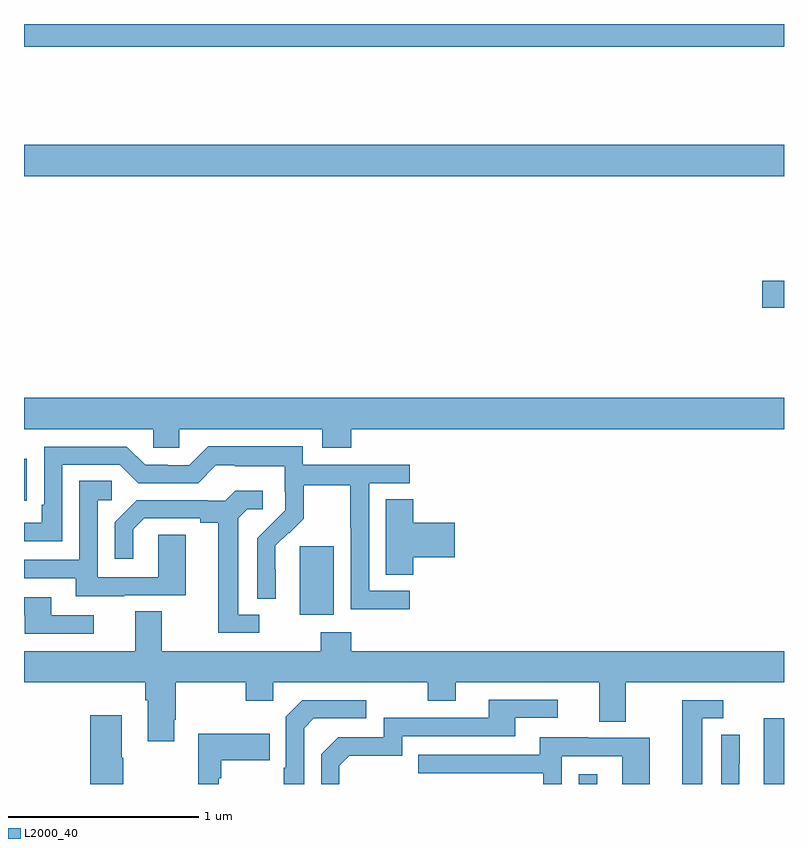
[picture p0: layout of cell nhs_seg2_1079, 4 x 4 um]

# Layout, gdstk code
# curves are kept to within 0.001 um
import gdstk
lib = gdstk.Library(unit=1e-6, precision=1e-09)
def R(c, l, rs):  # rectangles x0, y0, x1, y1
    for r in rs: c.add(gdstk.rectangle(r[:2], r[2:], *l))
def P(c, l, *ps):  # polygons
    for p in ps: c.add(gdstk.Polygon(p, *l))
L2000_40 = (2000, 40)

nhs_seg2_1079 = lib.new_cell('nhs_seg2_1079')
R(nhs_seg2_1079, L2000_40, [(169.92,613.8,170.017,613.852), (170.894,613.8,171,614.146), (168.452,614.69,168.631,615.051), (167,615.292,167.015,615.511), (170.886,616.306,171,616.448), (167,617,171,617.164), (167,617.68,171,617.8)])
P(nhs_seg2_1079, L2000_40, [(168.722,615.668),(171,615.668),(171,615.832),(167,615.832),(167,615.668),(167.679,615.668),(167.679,615.57),(167.817,615.57),(167.817,615.668),(168.569,615.668),(168.569,615.569),(168.722,615.569)],
  [(169.03,614.817),(168.816,614.817),(168.816,615.384),(169.03,615.384),(169.03,615.48),(168.468,615.48),(168.468,615.577),(167.971,615.577),(167.871,615.477),(167.756,615.477),(167.756,615.48),(167.637,615.48),(167.541,615.576),(167.106,615.576),(167.106,615.271),(167.093,615.271),(167.093,615.174),(167,615.174),(167,615.078),(167.202,615.078),(167.202,615.48),(167.505,615.48),(167.601,615.384),(167.916,615.384),(168.009,615.477),(168.109,615.477),(168.109,615.473),(168.372,615.473),(168.372,615.339),(168.374,615.339),(168.374,615.242),(168.228,615.094),(168.228,614.776),(168.324,614.776),(168.323,615.053),(168.393,615.123),(168.396,615.12),(168.473,615.197),(168.473,615.372),(168.718,615.372),(168.718,615.148),(168.72,615.148),(168.72,614.719),(169.03,614.719)],
  [(167.527,614.793),(167.851,614.793),(167.851,615.113),(167.706,615.113),(167.706,614.889),(167.388,614.889),(167.388,615.294),(167.461,615.294),(167.461,615.395),(167.292,615.395),(167.292,614.979),(167,614.979),(167,614.883),(167.273,614.883),(167.273,614.789),(167.527,614.789)],
  [(168.238,614.691),(168.127,614.691),(168.127,615.199),(168.174,615.246),(168.256,615.246),(168.256,615.343),(168.112,615.343),(168.06,615.291),(167.966,615.291),(167.966,615.294),(167.594,615.294),(167.478,615.178),(167.478,614.985),(167.575,614.985),(167.575,615.141),(167.632,615.198),(167.927,615.198),(167.927,615.176),(168.023,615.176),(168.023,614.595),(168.238,614.595)],
  [(169.049,614.993),(169.267,614.993),(169.267,615.176),(169.049,615.176),(169.049,615.299),(168.905,615.299),(168.905,614.902),(169.049,614.902)],
  [(167.368,614.688),(167.143,614.688),(167.143,614.784),(167,614.784),(167,614.688),(167.003,614.688),(167.003,614.592),(167.368,614.592)],
  [(167.791,614.137),(167.799,614.137),(167.799,614.336),(168.166,614.336),(168.166,614.237),(168.312,614.237),(168.312,614.336),(169.126,614.336),(169.126,614.237),(169.273,614.237),(169.273,614.336),(170.027,614.336),(170.027,614.128),(170.167,614.128),(170.167,614.336),(171,614.336),(171,614.5),(168.722,614.5),(168.722,614.599),(168.562,614.599),(168.562,614.5),(167.725,614.5),(167.725,614.708),(167.585,614.708),(167.585,614.5),(167,614.5),(167,614.336),(167.639,614.336),(167.639,614.24),(167.651,614.24),(167.651,614.025),(167.791,614.025)],
  [(168.66,613.896),(168.713,613.949),(168.99,613.949),(168.99,614.052),(169.585,614.052),(169.585,614.148),(169.81,614.148),(169.81,614.244),(169.445,614.244),(169.445,614.148),(168.894,614.148),(168.894,614.046),(168.654,614.046),(168.564,613.956),(168.564,613.8),(168.66,613.8)],
  [(170.569,614.145),(170.68,614.145),(170.68,614.241),(170.465,614.241),(170.465,613.8),(170.569,613.8)],
  [(168.474,614.094),(168.525,614.145),(168.802,614.145),(168.802,614.241),(168.465,614.241),(168.378,614.154),(168.378,613.885),(168.366,613.885),(168.366,613.8),(168.474,613.8)],
  [(167.523,613.937),(167.515,613.937),(167.515,614.161),(167.348,614.161),(167.348,613.8),(167.523,613.8)],
  [(168.024,613.829),(168.037,613.829),(168.037,613.925),(168.293,613.925),(168.293,614.065),(167.916,614.065),(167.916,613.8),(168.024,613.8)],
  [(170.765,613.906),(170.766,613.906),(170.766,614.06),(170.67,614.06),(170.67,613.8),(170.765,613.8)],
  [(169.83,613.947),(170.148,613.947),(170.148,613.8),(170.293,613.8),(170.293,614.043),(169.969,614.043),(169.969,614.047),(169.715,614.047),(169.715,613.953),(169.075,613.953),(169.075,613.857),(169.734,613.857),(169.734,613.8),(169.83,613.8)])

lib.write_gds('nhs_seg2_1079.gds')
